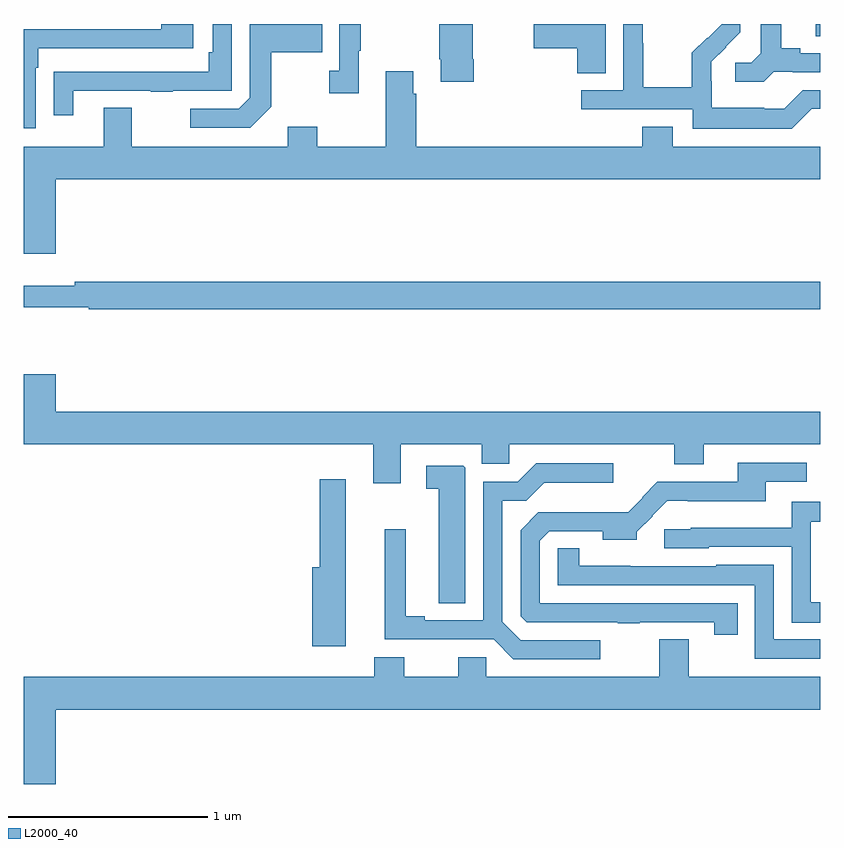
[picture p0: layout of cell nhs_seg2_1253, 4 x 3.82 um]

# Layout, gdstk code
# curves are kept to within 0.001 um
import gdstk
lib = gdstk.Library(unit=1e-6, precision=1e-09)
def R(c, l, rs):  # rectangles x0, y0, x1, y1
    for r in rs: c.add(gdstk.rectangle(r[:2], r[2:], *l))
def P(c, l, *ps):  # polygons
    for p in ps: c.add(gdstk.Polygon(p, *l))
L2000_40 = (2000, 40)

nhs_seg2_1253 = lib.new_cell('nhs_seg2_1253')
R(nhs_seg2_1253, L2000_40, [(180.977,597.739,181,597.8)])
P(nhs_seg2_1253, L2000_40, [(177.06,597.581),(177.073,597.581),(177.073,597.678),(177.85,597.678),(177.85,597.8),(177.689,597.8),(177.689,597.774),(177,597.774),(177,597.276),(177.06,597.276)],
  [(180.768,597.561),(180.862,597.561),(180.862,597.558),(181,597.558),(181,597.654),(180.901,597.654),(180.901,597.677),(180.805,597.677),(180.805,597.8),(180.701,597.8),(180.701,597.653),(180.654,597.606),(180.573,597.606),(180.573,597.509),(180.716,597.509)],
  [(178.243,597.385),(178.243,597.658),(178.499,597.658),(178.499,597.8),(178.134,597.8),(178.134,597.429),(178.08,597.375),(177.837,597.375),(177.837,597.279),(178.137,597.279)],
  [(177.247,597.465),(177.637,597.465),(177.637,597.46),(177.749,597.46),(177.749,597.465),(178.044,597.465),(178.044,597.8),(177.948,597.8),(177.948,597.658),(177.928,597.658),(177.928,597.561),(177.253,597.561),(177.253,597.56),(177.151,597.56),(177.151,597.342),(177.247,597.342)],
  [(178.681,597.665),(178.693,597.665),(178.693,597.8),(178.584,597.8),(178.584,597.566),(178.533,597.566),(178.533,597.453),(178.681,597.453)],
  [(179.261,597.622),(179.256,597.622),(179.256,597.8),(179.086,597.8),(179.086,597.622),(179.093,597.622),(179.093,597.51),(179.261,597.51)],
  [(180.957,597.375),(181,597.375),(181,597.468),(180.912,597.468),(180.819,597.375),(180.719,597.375),(180.719,597.379),(180.456,597.379),(180.456,597.513),(180.454,597.513),(180.454,597.61),(180.6,597.758),(180.6,597.8),(180.506,597.8),(180.435,597.729),(180.432,597.732),(180.355,597.655),(180.355,597.481),(180.111,597.481),(180.111,597.704),(180.108,597.704),(180.108,597.8),(180.012,597.8),(180.012,597.468),(179.799,597.468),(179.799,597.372),(180.36,597.372),(180.36,597.275),(180.857,597.275)],
  [(179.923,597.8),(179.562,597.8),(179.562,597.677),(179.78,597.677),(179.78,597.553),(179.923,597.553)],
  [(177.16,597.02),(181,597.02),(181,597.184),(180.259,597.184),(180.259,597.283),(180.107,597.283),(180.107,597.184),(178.97,597.184),(178.97,597.449),(178.957,597.449),(178.957,597.562),(178.817,597.562),(178.817,597.184),(178.473,597.184),(178.473,597.283),(178.325,597.283),(178.325,597.184),(177.541,597.184),(177.541,597.379),(177.401,597.379),(177.401,597.184),(177,597.184),(177,596.646),(177.16,596.646)],
  [(181,596.504),(177.256,596.504),(177.256,596.485),(177,596.485),(177,596.376),(177.326,596.376),(177.326,596.368),(181,596.368)],
  [(178.894,595.688),(179.3,595.688),(179.3,595.59),(179.439,595.59),(179.439,595.688),(180.268,595.688),(180.268,595.589),(180.415,595.589),(180.415,595.688),(181,595.688),(181,595.852),(177.16,595.852),(177.16,596.041),(177,596.041),(177,595.688),(178.754,595.688),(178.754,595.494),(178.894,595.494)],
  [(180.587,594.891),(179.592,594.891),(179.592,595.203),(179.64,595.251),(179.909,595.251),(179.909,595.208),(180.08,595.208),(180.08,595.248),(180.159,595.326),(180.156,595.329),(180.233,595.406),(180.334,595.406),(180.334,595.403),(180.727,595.403),(180.727,595.5),(180.934,595.5),(180.934,595.596),(180.587,595.596),(180.587,595.5),(180.183,595.5),(180.107,595.423),(180.109,595.421),(180.035,595.348),(179.701,595.348),(179.701,595.346),(179.585,595.346),(179.496,595.257),(179.496,594.825),(179.526,594.795),(179.983,594.795),(179.983,594.79),(180.095,594.79),(180.095,594.795),(180.469,594.795),(180.469,594.732),(180.587,594.732)],
  [(179.896,594.705),(179.496,594.705),(179.403,594.798),(179.403,595.405),(179.524,595.405),(179.615,595.496),(179.962,595.496),(179.962,595.593),(179.574,595.593),(179.481,595.5),(179.307,595.5),(179.307,594.804),(179.014,594.804),(179.014,594.824),(178.918,594.824),(178.918,595.261),(178.814,595.261),(178.814,594.708),(179.36,594.708),(179.459,594.609),(179.896,594.609)],
  [(179.218,595.571),(179.208,595.581),(179.022,595.581),(179.022,595.465),(179.084,595.465),(179.084,594.889),(179.218,594.889)],
  [(178.618,595.513),(178.487,595.513),(178.487,595.072),(178.448,595.072),(178.448,594.674),(178.618,594.674)],
  [(181,594.894),(180.954,594.894),(180.954,595.299),(181,595.299),(181,595.399),(180.857,595.399),(180.857,595.27),(180.351,595.27),(180.351,595.263),(180.216,595.263),(180.216,595.167),(180.441,595.167),(180.441,595.173),(180.858,595.173),(180.858,594.793),(181,594.793)],
  [(181,594.708),(180.768,594.708),(180.768,595.084),(180.477,595.084),(180.477,595.077),(180.045,595.077),(180.045,595.078),(179.791,595.078),(179.791,595.166),(179.682,595.166),(179.682,594.981),(180.672,594.981),(180.672,594.612),(181,594.612)],
  [(177.16,594.356),(181,594.356),(181,594.52),(180.339,594.52),(180.339,594.71),(180.191,594.71),(180.191,594.52),(179.322,594.52),(179.322,594.618),(179.183,594.618),(179.183,594.52),(178.912,594.52),(178.912,594.619),(178.76,594.619),(178.76,594.52),(177,594.52),(177,593.982),(177.16,593.982)])

lib.write_gds('nhs_seg2_1253.gds')
